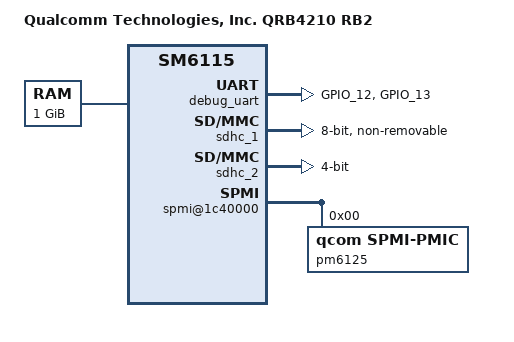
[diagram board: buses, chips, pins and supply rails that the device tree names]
// SPDX-License-Identifier: GPL-2.0+
/*
 * Qualcomm QRB4210-RB2 evaluation board device tree source
 *
 * (C) Copyright 2023 Bhupesh Sharma <bhupesh.sharma@linaro.org>
 */

/dts-v1/;

#include "skeleton64.dtsi"
#include <dt-bindings/gpio/gpio.h>
#include <dt-bindings/clock/qcom,gcc-sm6115.h>

/ {
	model = "Qualcomm Technologies, Inc. QRB4210 RB2";
	compatible = "qcom,qrb4210-rb2", "qcom,sm6115";
	#address-cells = <2>;
	#size-cells = <2>;

	chosen {
		stdout-path = "serial0:115200n8";
	};

	aliases {
		serial0 = &debug_uart;
	};

	memory {
		device_type = "memory";
		reg = <0 0x80000000 0 0x40000000>;
	};

	soc {
		#address-cells = <1>;
		#size-cells = <1>;
		ranges = <0 0 0 0xffffffff>;
		compatible = "simple-bus";

		gcc: clock-controller@1400000 {
			compatible = "qcom,gcc-sm6115";
			reg = <0x01400000 0x1f0000>;
			#clock-cells = <1>;
			#reset-cells = <1>;
			#power-domain-cells = <1>;
		};

		tlmm: pinctrl_west@500000 {
			compatible = "qcom,sm6115-pinctrl";
			reg = <0x00500000 0x400000>;
			gpio-count = <114>;
			gpio-controller;
			#gpio-cells = <2>;
			gpio-ranges = <&tlmm_north 0 0 114>;

			/* DEBUG UART */
			debug_uart_on: debug_uart-default {
				pins = "GPIO_12", "GPIO_13";
				function = "qup4";
			};
		};

		debug_uart: serial@4a90000 {
			compatible = "qcom,msm-geni-uart";
			reg = <0x04a90000 0x4000>;
			clock-names = "se-clk";
			clocks = <&gcc GCC_QUPV3_WRAP0_S4_CLK>;
			pinctrl-names = "default";
			pinctrl-0 = <&debug_uart_on>;
		};


		sdhc_1: mmc@4744000 {
			compatible = "qcom,sdhci-msm-v5";
			reg = <0x04744000 0x1000 0x04745000 0x1000>;
			clock = <&gcc GCC_SDCC1_APPS_CLK>,
				<&gcc GCC_SDCC1_AHB_CLK>;
			bus-width = <8>;
			//pinctrl-names = "default";
			//pinctrl-0 = <&sdc1_state_on>;

			no-sdio;
			non-removable;
		};

		sdhc_2: mmc@4784000 {
			compatible = "qcom,sdhci-msm-v5";
			reg = <0x04784000 0x1000>;
			clock = <&gcc GCC_SDCC2_APPS_CLK>,
				<&gcc GCC_SDCC2_AHB_CLK>;
			bus-width = <4>;
			//pinctrl-names = "default";
			//pinctrl-0 = <&sdc2_state_on>;

			no-sdio;
			non-emmc;
		};

		spmi@1c40000 {
			compatible = "qcom,spmi-pmic-arb";
			reg = <0x01c0a000 0x26000>,
			      <0x01c40000 0x1100>,
			      <0x03e00000 0x100000>;
			reg-names = "cnfg", "core", "obsrvr";
			#address-cells = <1>;
			#size-cells = <0>;

			pm6125: pm6125@0 {
				compatible = "qcom,spmi-pmic";
				reg = <0x0 0x1>;
				#address-cells = <1>;
				#size-cells = <0>;

				pm6125_gpios: pm6125_gpios@c000 {
					compatible = "qcom,pm6125-gpio";
					reg = <0xc000>;
					gpio-controller;
					gpio-count = <9>;
					#gpio-cells = <2>;
					gpio-bank-name="pmic";
				};
			};
		};
	};
};

#include "qrb4210-rb2-uboot.dtsi"
